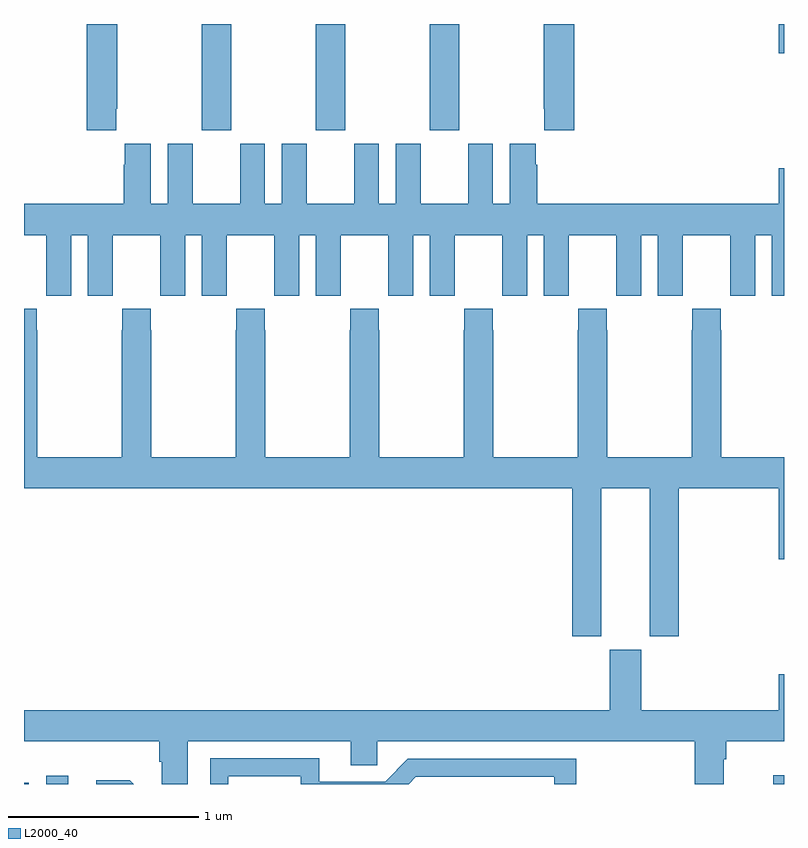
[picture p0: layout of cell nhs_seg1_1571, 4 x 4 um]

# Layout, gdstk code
import gdstk
lib = gdstk.Library(unit=1e-6, precision=1e-09)
def R(c, l, rs):  # rectangles x0, y0, x1, y1
    for r in rs: c.add(gdstk.rectangle(r[:2], r[2:], *l))
def A(c, l, x, y, w, h, nx, ny, dx, dy):  # array of equal rectangles
    R(c, l, [(x+i*dx, y+j*dy, x+i*dx+w, y+j*dy+h) for i in range(nx) for j in range(ny)])
def P(c, l, *ps):  # polygons
    for p in ps: c.add(gdstk.Polygon(p, *l))
L2000_40 = (2000, 40)

nhs_seg1_1571 = lib.new_cell('nhs_seg1_1571')
A(nhs_seg1_1571, L2000_40, 197.935, 529.641, 0.155, 0.558, 3, 1, 0.6, 0)
R(nhs_seg1_1571, L2000_40, [(197,526.199,197.025,526.206), (197.118,526.199,197.233,526.243), (200.944,526.199,201,526.246), (200.972,530.046,201,530.199)])
P(nhs_seg1_1571, L2000_40, [(197.485,529.753),(197.49,529.753),(197.49,530.199),(197.33,530.199),(197.33,529.641),(197.485,529.641)],
  [(199.895,530.199),(199.735,530.199),(199.735,529.753),(199.739,529.753),(199.739,529.641),(199.895,529.641)],
  [(197.717,528.88),(197.718,528.88),(197.718,528.768),(197.848,528.768),(197.848,529.088),(197.936,529.088),(197.936,528.768),(198.066,528.768),(198.066,528.88),(198.067,528.88),(198.067,529.088),(198.317,529.088),(198.317,528.88),(198.318,528.88),(198.318,528.768),(198.448,528.768),(198.448,529.088),(198.536,529.088),(198.536,528.768),(198.666,528.768),(198.666,528.88),(198.667,528.88),(198.667,529.088),(198.917,529.088),(198.917,528.88),(198.918,528.88),(198.918,528.768),(199.048,528.768),(199.048,529.088),(199.136,529.088),(199.136,528.768),(199.266,528.768),(199.266,528.88),(199.267,528.88),(199.267,529.088),(199.517,529.088),(199.517,528.88),(199.518,528.88),(199.518,528.768),(199.648,528.768),(199.648,529.088),(199.736,529.088),(199.736,528.768),(199.866,528.768),(199.866,528.88),(199.867,528.88),(199.867,529.088),(200.117,529.088),(200.117,528.88),(200.118,528.88),(200.118,528.768),(200.248,528.768),(200.248,529.088),(200.336,529.088),(200.336,528.768),(200.466,528.768),(200.466,528.88),(200.467,528.88),(200.467,529.088),(200.717,529.088),(200.717,528.88),(200.718,528.88),(200.718,528.768),(200.848,528.768),(200.848,529.088),(200.936,529.088),(200.936,528.768),(201,528.768),(201,529.441),(200.972,529.441),(200.972,529.252),(199.7,529.252),(199.7,529.457),(199.693,529.457),(199.693,529.57),(199.556,529.57),(199.556,529.252),(199.468,529.252),(199.468,529.57),(199.337,529.57),(199.337,529.252),(199.087,529.252),(199.087,529.57),(198.956,529.57),(198.956,529.252),(198.868,529.252),(198.868,529.57),(198.737,529.57),(198.737,529.252),(198.487,529.252),(198.487,529.57),(198.356,529.57),(198.356,529.252),(198.268,529.252),(198.268,529.57),(198.137,529.57),(198.137,529.252),(197.887,529.252),(197.887,529.57),(197.756,529.57),(197.756,529.252),(197.668,529.252),(197.668,529.57),(197.531,529.57),(197.531,529.457),(197.525,529.457),(197.525,529.252),(197,529.252),(197,529.088),(197.117,529.088),(197.117,528.88),(197.118,528.88),(197.118,528.768),(197.248,528.768),(197.248,529.088),(197.336,529.088),(197.336,528.768),(197.466,528.768),(197.466,528.88),(197.467,528.88),(197.467,529.088),(197.717,529.088)],
  [(197.067,528.587),(197.067,528.7),(197,528.7),(197,527.756),(199.886,527.756),(199.886,526.977),(200.038,526.977),(200.038,527.756),(200.294,527.756),(200.294,526.977),(200.447,526.977),(200.447,527.756),(200.972,527.756),(200.972,527.382),(201,527.382),(201,527.92),(200.67,527.92),(200.67,528.587),(200.667,528.587),(200.667,528.7),(200.517,528.7),(200.517,528.587),(200.515,528.587),(200.515,527.92),(200.07,527.92),(200.07,528.587),(200.067,528.587),(200.067,528.7),(199.917,528.7),(199.917,528.587),(199.915,528.587),(199.915,527.92),(199.47,527.92),(199.47,528.587),(199.467,528.587),(199.467,528.7),(199.317,528.7),(199.317,528.587),(199.315,528.587),(199.315,527.92),(198.87,527.92),(198.87,528.587),(198.867,528.587),(198.867,528.7),(198.717,528.7),(198.717,528.587),(198.715,528.587),(198.715,527.92),(198.27,527.92),(198.27,528.587),(198.267,528.587),(198.267,528.7),(198.117,528.7),(198.117,528.587),(198.115,528.587),(198.115,527.92),(197.67,527.92),(197.67,528.587),(197.667,528.587),(197.667,528.7),(197.517,528.7),(197.517,528.587),(197.515,528.587),(197.515,527.92),(197.07,527.92),(197.07,528.587)],
  [(197.863,526.424),(198.719,526.424),(198.719,526.297),(198.858,526.297),(198.858,526.424),(200.531,526.424),(200.531,526.199),(200.683,526.199),(200.683,526.328),(200.696,526.328),(200.696,526.424),(201,526.424),(201,526.777),(200.972,526.777),(200.972,526.588),(200.248,526.588),(200.248,526.905),(200.084,526.905),(200.084,526.588),(197,526.588),(197,526.424),(197.711,526.424),(197.711,526.315),(197.724,526.315),(197.724,526.199),(197.863,526.199)],
  [(198.075,526.239),(198.456,526.239),(198.456,526.199),(199.025,526.199),(199.062,526.236),(199.791,526.236),(199.791,526.199),(199.907,526.199),(199.907,526.332),(199.02,526.332),(198.9,526.212),(198.553,526.212),(198.553,526.335),(197.979,526.335),(197.979,526.199),(198.075,526.199)],
  [(197.557,526.22),(197.379,526.22),(197.379,526.199),(197.578,526.199)])

lib.write_gds('nhs_seg1_1571.gds')
